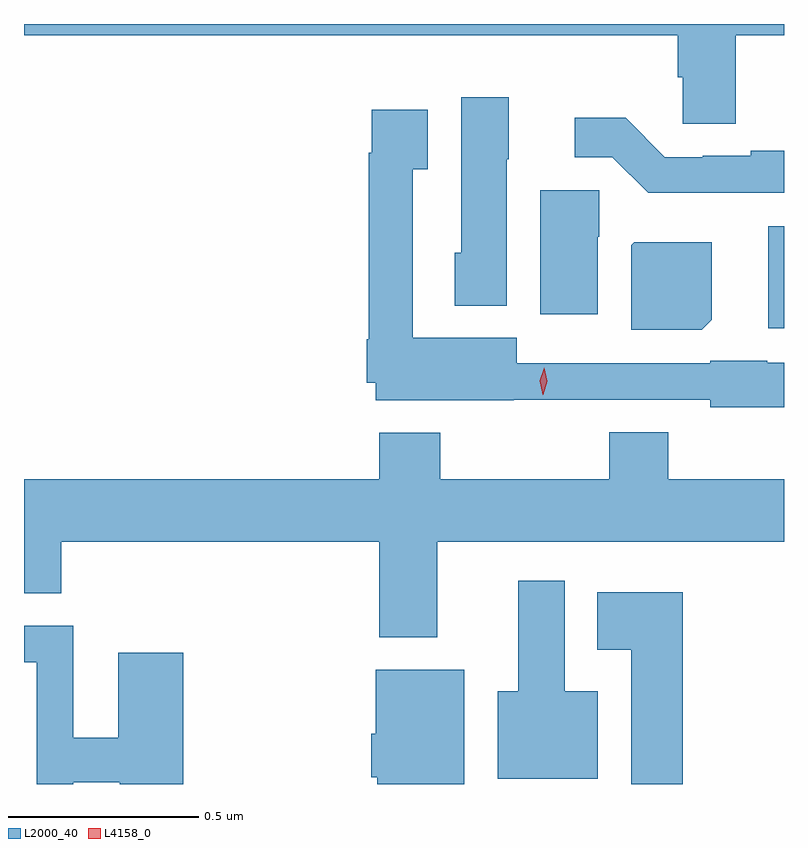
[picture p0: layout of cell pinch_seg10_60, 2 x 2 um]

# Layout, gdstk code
import gdstk
lib = gdstk.Library(unit=1e-6, precision=1e-09)
def R(c, l, rs):  # rectangles x0, y0, x1, y1
    for r in rs: c.add(gdstk.rectangle(r[:2], r[2:], *l))
def P(c, l, *ps):  # polygons
    for p in ps: c.add(gdstk.Polygon(p, *l))
L2000_40 = (2000, 40)
L4158_0 = (4158, 0)

pinch_seg10_60 = lib.new_cell('pinch_seg10_60')
R(pinch_seg10_60, L2000_40, [(841.268,1315.529,841.31,1315.798)])
P(pinch_seg10_60, L2000_40, [(841.183,1316.3),(841.31,1316.3),(841.31,1316.33),(839.31,1316.33),(839.31,1316.3),(841.031,1316.3),(841.031,1316.19),(841.044,1316.19),(841.044,1316.068),(841.183,1316.068)],
  [(840.58,1315.974),(840.586,1315.974),(840.586,1316.137),(840.461,1316.137),(840.461,1315.728),(840.443,1315.728),(840.443,1315.589),(840.58,1315.589)],
  [(841.31,1315.438),(841.266,1315.438),(841.266,1315.444),(841.116,1315.444),(841.116,1315.437),(840.607,1315.437),(840.607,1315.504),(840.333,1315.504),(840.333,1315.948),(840.373,1315.948),(840.373,1316.104),(840.225,1316.104),(840.225,1315.991),(840.217,1315.991),(840.217,1315.5),(840.212,1315.5),(840.212,1315.386),(840.236,1315.386),(840.236,1315.34),(840.599,1315.34),(840.599,1315.341),(841.116,1315.341),(841.116,1315.322),(841.31,1315.322)],
  [(841.31,1315.996),(841.223,1315.996),(841.223,1315.983),(841.096,1315.983),(841.096,1315.98),(840.996,1315.98),(840.894,1316.083),(840.759,1316.083),(840.759,1315.98),(840.858,1315.98),(840.953,1315.886),(841.31,1315.886)],
  [(840.82,1315.77),(840.824,1315.77),(840.824,1315.893),(840.668,1315.893),(840.668,1315.566),(840.82,1315.566)],
  [(841.12,1315.552),(841.12,1315.756),(840.916,1315.756),(840.908,1315.748),(840.908,1315.526),(841.094,1315.526)],
  [(840.397,1314.968),(841.31,1314.968),(841.31,1315.132),(841.005,1315.132),(841.005,1315.256),(840.85,1315.256),(840.85,1315.132),(840.405,1315.132),(840.405,1315.255),(840.245,1315.255),(840.245,1315.132),(839.31,1315.132),(839.31,1314.832),(839.408,1314.832),(839.408,1314.968),(840.245,1314.968),(840.245,1314.716),(840.397,1314.716)],
  [(840.82,1314.574),(840.733,1314.574),(840.733,1314.865),(840.611,1314.865),(840.611,1314.574),(840.557,1314.574),(840.557,1314.344),(840.82,1314.344)],
  [(841.043,1314.835),(840.818,1314.835),(840.818,1314.683),(840.908,1314.683),(840.908,1314.33),(841.043,1314.33)],
  [(839.439,1314.335),(839.562,1314.335),(839.562,1314.33),(839.729,1314.33),(839.729,1314.676),(839.558,1314.676),(839.558,1314.452),(839.439,1314.452),(839.439,1314.747),(839.31,1314.747),(839.31,1314.651),(839.343,1314.651),(839.343,1314.33),(839.439,1314.33)],
  [(840.469,1314.631),(840.236,1314.631),(840.236,1314.462),(840.224,1314.462),(840.224,1314.348),(840.24,1314.348),(840.24,1314.33),(840.469,1314.33)])
P(pinch_seg10_60, L4158_0, [(840.675,1315.354),(840.675,1315.354),(840.667,1315.391),(840.679,1315.426),(840.679,1315.426),(840.679,1315.426),(840.687,1315.39),(840.676,1315.354)])

lib.write_gds('pinch_seg10_60.gds')
